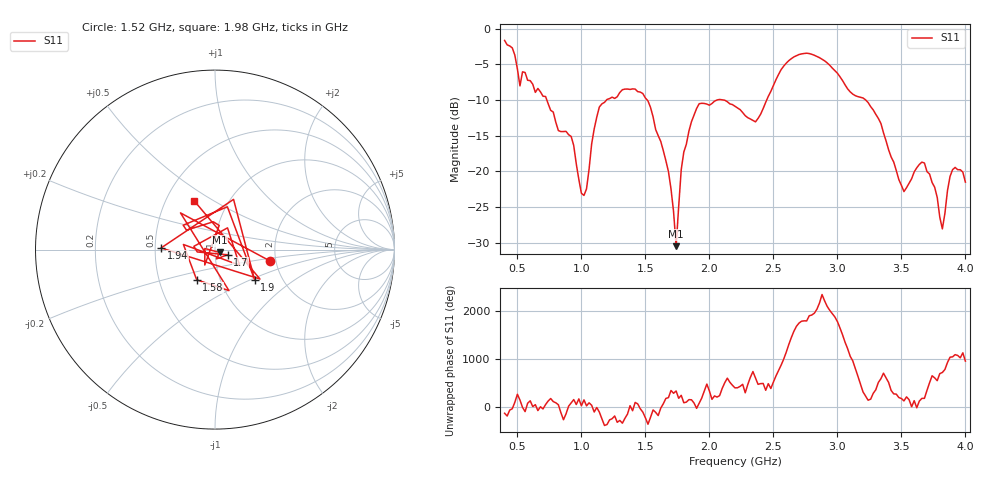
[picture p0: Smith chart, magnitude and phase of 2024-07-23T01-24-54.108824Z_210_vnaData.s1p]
!Created with skrf (http://scikit-rf.org).
# Hz S RI R 50.0
!freq ReS11 ImS11
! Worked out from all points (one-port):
!   181 points, 400 MHz to 4 GHz, reference 50 ohm
!   lowest |S11| = -30.5 dB at 1.74 GHz (marker M1), VSWR 1.06, Z = 52.6 - j1.68 ohm
!   |S11| at or under -10 dB: 730.1 MHz to 1.196 GHz (465.7 MHz wide, 48.4 % of centre); 1.515 GHz to 2.058 GHz (543.2 MHz wide, 30.4 % of centre); 3.222 GHz to end of sweep (the widest 3 of 4)
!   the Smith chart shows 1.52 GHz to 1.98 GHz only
!   S11 on the Smith chart (normalised r, x): 1.52 GHz: 1.86, -0.26; 1.58 GHz: 0.77, -0.27; 1.7 GHz: 1.15, -0.07; 1.9 GHz: 1.45, -0.52; 1.94 GHz: 0.54, +0.01; 1.98 GHz: 0.69, +0.41
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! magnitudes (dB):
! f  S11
! 400 MHz  -1.6
! 520 MHz  -8.0
! 560 MHz  -6.1
! 860 MHz  -14.4
! 920 MHz  -15.1
! 1.02 GHz  -23.4
! 1.14 GHz  -11.0
! 1.3 GHz  -8.9
! 1.52 GHz  -10.1
! 1.58 GHz  -14.1
! 1.7 GHz  -22.4
! 1.74 GHz  -30.5
! 1.76 GHz  -24.9
! 1.8 GHz  -17.3
! 1.9 GHz  -11.2
! 1.94 GHz  -10.4
! 1.98 GHz  -10.6
! 2.2 GHz  -10.9
! 2.36 GHz  -13.0
! 2.66 GHz  -4.0
! 3.1 GHz  -8.8
! 3.28 GHz  -11.4
! 3.52 GHz  -22.8
! 3.56 GHz  -21.6
! 3.68 GHz  -18.8
! 3.82 GHz  -28.0
! 3.9 GHz  -19.7
! 4 GHz  -21.5
